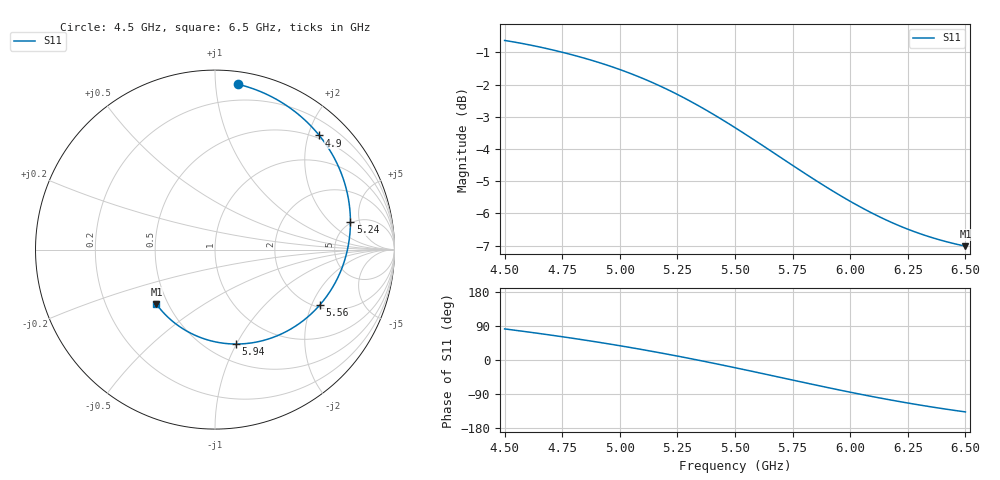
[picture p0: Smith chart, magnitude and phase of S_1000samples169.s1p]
! TOUCHSTONE file generated by CST MICROWAVE STUDIO
! Date and time: Thu Oct 27 05:50:58 2022
! Project name: L.cst
! Parameters = {Di=1.27; Epsilon_r=1.56; InnerDiameter=1.27; Length=2; Lf=10; Lg=60; OuterConductorThickness=0.2921; OuterDiameter=3.6; Wf=3; Wp=41.2; de=1.5; df=6.8; g=0.8; gx=0.954239; gy=2.52125; h=2.34; hf=1.524; px=8.4936; py=10.104; w=9.7; wx=7.53936; wy=7.58272}
! Header version: 2018
! Port assignment regex: !\s*Touchstone port\s*([0-9]+)\s*=\s*(CST MWS port|CST DS port)\s*([0-9]+|Zmin|Zmax)\s*\(\"(.*)\"\)(\s*mode\s*([0-9]+))?.*
! Touchstone port assignment:
! Touchstone port 1 = CST MWS port 1 ("")
# GHz S DB R 50
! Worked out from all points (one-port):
!   101 points, 4.5 GHz to 6.5 GHz, reference 50 ohm
!   lowest |S11| = -7.0 dB at 6.5 GHz (marker M1), VSWR 2.61, Z = 21.6 - j16.4 ohm
!   |S11| at or under -10 dB: nowhere
!   S11 on the Smith chart (normalised r, x): 4.5 GHz: 0.08, +1.15; 4.9 GHz: 0.44, +2.19; 5.24 GHz: 4.86, +3.66; 5.56 GHz: 2.08, -2.29; 5.94 GHz: 0.67, -1.00; 6.5 GHz: 0.43, -0.33
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4.5  -0.63 82.1
4.58  -0.73 75.7
4.64  -0.82 70.8
4.76  -1.02 60.5
4.82  -1.13 55.1
4.9  -1.30 47.6
5  -1.53 37.7
5.06  -1.69 31.4
5.12  -1.87 25.0
5.18  -2.06 18.3
5.24  -2.27 11.5
5.26  -2.34 9.2
5.32  -2.57 2.0
5.38  -2.81 -5.3
5.44  -3.07 -12.7
5.5  -3.34 -20.3
5.56  -3.61 -28.1
5.66  -4.08 -41.1
5.72  -4.37 -49.0
5.76  -4.55 -54.3
5.84  -4.93 -64.7
5.94  -5.37 -77.5
6  -5.62 -85.0
6.06  -5.86 -92.2
6.14  -6.15 -101.5
6.26  -6.51 -114.5
6.38  -6.80 -126.4
6.5  -7.01 -137.0
